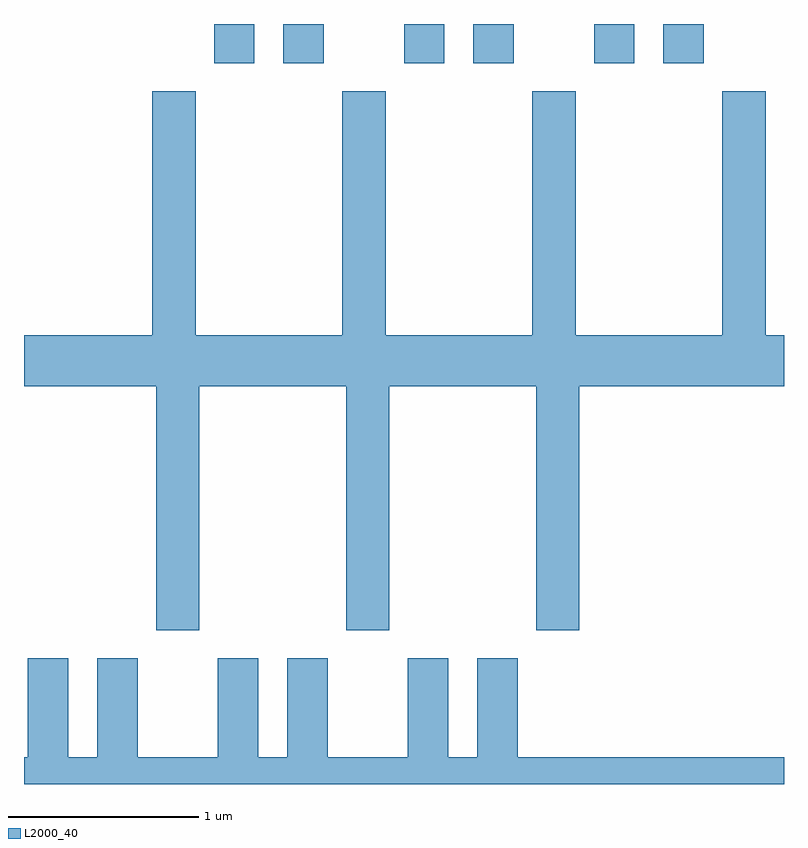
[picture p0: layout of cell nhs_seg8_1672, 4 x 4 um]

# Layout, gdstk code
import gdstk
lib = gdstk.Library(unit=1e-6, precision=1e-09)
def R(c, l, rs):  # rectangles x0, y0, x1, y1
    for r in rs: c.add(gdstk.rectangle(r[:2], r[2:], *l))
def P(c, l, *ps):  # polygons
    for p in ps: c.add(gdstk.Polygon(p, *l))
L2000_40 = (2000, 40)

nhs_seg8_1672 = lib.new_cell('nhs_seg8_1672')
R(nhs_seg8_1672, L2000_40, [(236.611,1818.136,236.824,1818.342), (236.976,1818.136,237.189,1818.342), (237.611,1818.136,237.824,1818.342), (237.976,1818.136,238.189,1818.342), (238.611,1818.136,238.824,1818.342), (238.976,1818.136,239.189,1818.342)])
P(nhs_seg8_1672, L2000_40, [(236.534,1816.436),(237.306,1816.436),(237.306,1815.151),(237.534,1815.151),(237.534,1816.436),(238.306,1816.436),(238.306,1815.151),(238.534,1815.151),(238.534,1816.436),(239.611,1816.436),(239.611,1816.704),(239.514,1816.704),(239.514,1817.989),(239.286,1817.989),(239.286,1816.704),(238.514,1816.704),(238.514,1817.989),(238.286,1817.989),(238.286,1816.704),(237.514,1816.704),(237.514,1817.989),(237.286,1817.989),(237.286,1816.704),(236.514,1816.704),(236.514,1817.989),(236.286,1817.989),(236.286,1816.704),(235.611,1816.704),(235.611,1816.436),(236.306,1816.436),(236.306,1815.151),(236.534,1815.151)],
  [(239.611,1814.484),(238.209,1814.484),(238.209,1815.004),(237.996,1815.004),(237.996,1814.484),(237.844,1814.484),(237.844,1815.004),(237.631,1815.004),(237.631,1814.484),(237.209,1814.484),(237.209,1815.004),(236.996,1815.004),(236.996,1814.484),(236.844,1814.484),(236.844,1815.004),(236.631,1815.004),(236.631,1814.484),(236.209,1814.484),(236.209,1815.004),(235.996,1815.004),(235.996,1814.484),(235.844,1814.484),(235.844,1815.004),(235.631,1815.004),(235.631,1814.484),(235.611,1814.484),(235.611,1814.342),(239.611,1814.342)])

lib.write_gds('nhs_seg8_1672.gds')
